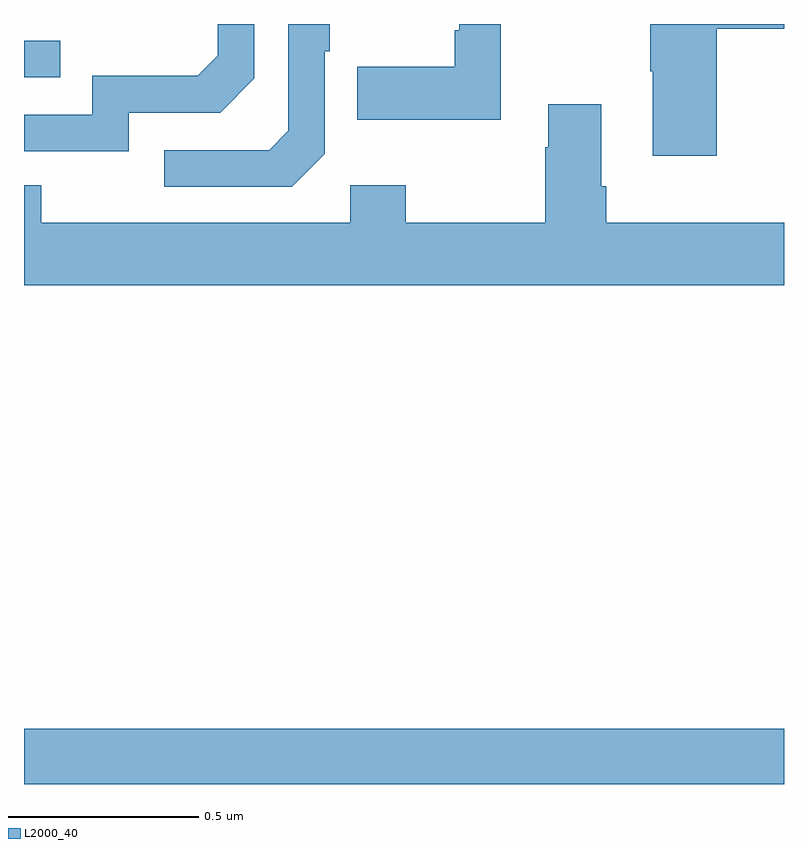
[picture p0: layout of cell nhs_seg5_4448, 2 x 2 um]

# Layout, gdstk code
import gdstk
lib = gdstk.Library(unit=1e-6, precision=1e-09)
def R(c, l, rs):  # rectangles x0, y0, x1, y1
    for r in rs: c.add(gdstk.rectangle(r[:2], r[2:], *l))
def P(c, l, *ps):  # polygons
    for p in ps: c.add(gdstk.Polygon(p, *l))
L2000_40 = (2000, 40)

nhs_seg5_4448 = lib.new_cell('nhs_seg5_4448')
R(nhs_seg5_4448, L2000_40, [(171,836.799,173,836.944), (171,838.659,171.095,838.755)])
P(nhs_seg5_4448, L2000_40, [(171.276,838.566),(171.516,838.566),(171.606,838.656),(171.606,838.799),(171.51,838.799),(171.51,838.716),(171.457,838.663),(171.18,838.663),(171.18,838.56),(171,838.56),(171,838.464),(171.276,838.464)],
  [(171.792,838.458),(171.792,838.727),(171.805,838.727),(171.805,838.799),(171.696,838.799),(171.696,838.518),(171.645,838.467),(171.369,838.467),(171.369,838.371),(171.705,838.371)],
  [(172.823,838.787),(173,838.787),(173,838.799),(172.648,838.799),(172.648,838.675),(172.655,838.675),(172.655,838.452),(172.823,838.452)],
  [(172.255,838.799),(172.146,838.799),(172.146,838.783),(172.134,838.783),(172.134,838.687),(171.877,838.687),(171.877,838.547),(172.255,838.547)],
  [(173,838.276),(172.532,838.276),(172.532,838.372),(172.519,838.372),(172.519,838.588),(172.379,838.588),(172.379,838.475),(172.372,838.475),(172.372,838.276),(172.005,838.276),(172.005,838.375),(171.858,838.375),(171.858,838.276),(171.045,838.276),(171.045,838.375),(171,838.375),(171,838.112),(173,838.112)])

lib.write_gds('nhs_seg5_4448.gds')
